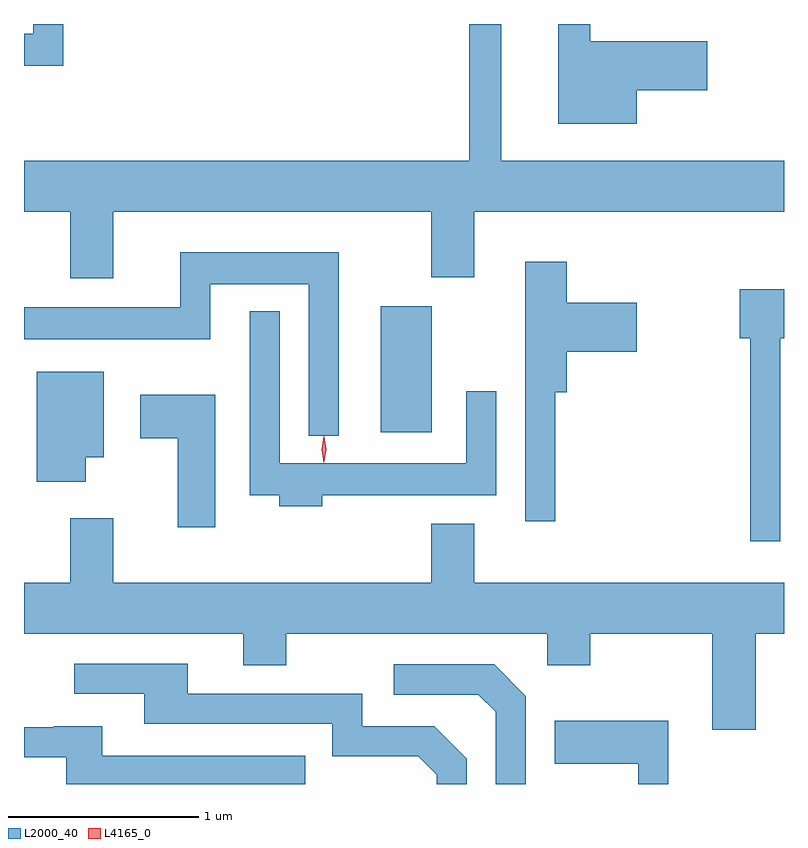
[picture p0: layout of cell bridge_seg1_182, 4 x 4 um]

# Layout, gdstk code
import gdstk
lib = gdstk.Library(unit=1e-6, precision=1e-09)
def R(c, l, rs):  # rectangles x0, y0, x1, y1
    for r in rs: c.add(gdstk.rectangle(r[:2], r[2:], *l))
def P(c, l, *ps):  # polygons
    for p in ps: c.add(gdstk.Polygon(p, *l))
L2000_40 = (2000, 40)
L4165_0 = (4165, 0)

bridge_seg1_182 = lib.new_cell('bridge_seg1_182')
R(bridge_seg1_182, L2000_40, [(803.556,958.356,803.824,959.019)])
P(bridge_seg1_182, L2000_40, [(804.904,960.156),(805.274,960.156),(805.274,960.414),(804.659,960.414),(804.659,960.505),(804.491,960.505),(804.491,959.981),(804.904,959.981)],
  [(802.149,959.516),(803.821,959.516),(803.821,959.171),(804.049,959.171),(804.049,959.516),(805.678,959.516),(805.678,959.784),(804.189,959.784),(804.189,960.505),(804.021,960.505),(804.021,959.784),(801.678,959.784),(801.678,959.516),(801.921,959.516),(801.921,959.166),(802.149,959.166)],
  [(801.884,960.505),(801.726,960.505),(801.726,960.454),(801.678,960.454),(801.678,960.286),(801.884,960.286)],
  [(803.334,959.304),(802.501,959.304),(802.501,959.014),(801.678,959.014),(801.678,958.846),(802.659,958.846),(802.659,959.136),(803.176,959.136),(803.176,958.338),(803.334,958.338)],
  [(804.474,958.566),(804.534,958.566),(804.534,958.781),(804.904,958.781),(804.904,959.039),(804.534,959.039),(804.534,959.254),(804.316,959.254),(804.316,957.888),(804.474,957.888)],
  [(805.659,958.851),(805.678,958.851),(805.678,959.109),(805.446,959.109),(805.446,958.851),(805.501,958.851),(805.501,957.783),(805.659,957.783)],
  [(803.249,958.026),(804.164,958.026),(804.164,958.573),(804.006,958.573),(804.006,958.194),(803.024,958.194),(803.024,958.993),(802.866,958.993),(802.866,958.026),(803.021,958.026),(803.021,957.966),(803.249,957.966)],
  [(802.004,958.226),(802.099,958.226),(802.099,958.674),(801.746,958.674),(801.746,958.096),(802.004,958.096)],
  [(802.684,958.554),(802.291,958.554),(802.291,958.326),(802.486,958.326),(802.486,957.856),(802.684,957.856)],
  [(805.529,957.296),(805.678,957.296),(805.678,957.564),(804.049,957.564),(804.049,957.874),(803.821,957.874),(803.821,957.564),(802.149,957.564),(802.149,957.904),(801.921,957.904),(801.921,957.564),(801.678,957.564),(801.678,957.296),(802.831,957.296),(802.831,957.131),(803.059,957.131),(803.059,957.296),(804.431,957.296),(804.431,957.131),(804.659,957.131),(804.659,957.296),(805.301,957.296),(805.301,956.791),(805.529,956.791)],
  [(804.009,956.637),(803.837,956.809),(803.459,956.809),(803.459,956.979),(802.539,956.979),(802.539,957.139),(801.943,957.139),(801.943,956.981),(802.311,956.981),(802.311,956.821),(803.301,956.821),(803.301,956.651),(803.754,956.651),(803.851,956.554),(803.851,956.505),(804.009,956.505)],
  [(804.319,956.967),(804.152,957.134),(803.623,957.134),(803.623,956.976),(804.069,956.976),(804.161,956.884),(804.161,956.505),(804.319,956.505)],
  [(805.069,956.839),(804.471,956.839),(804.471,956.611),(804.911,956.611),(804.911,956.505),(805.069,956.505)],
  [(803.158,956.654),(802.089,956.654),(802.089,956.809),(801.835,956.809),(801.835,956.804),(801.678,956.804),(801.678,956.646),(801.901,956.646),(801.901,956.505),(803.158,956.505)])
P(bridge_seg1_182, L4165_0, [(803.258,958.2),(803.258,958.2),(803.248,958.266),(803.258,958.333),(803.258,958.333),(803.259,958.333),(803.268,958.266),(803.259,958.2)],
  [(803.255,958.197),(803.246,958.267),(803.255,958.336),(803.256,958.336),(803.256,958.336),(803.266,958.267),(803.256,958.197),(803.256,958.197)])

lib.write_gds('bridge_seg1_182.gds')
